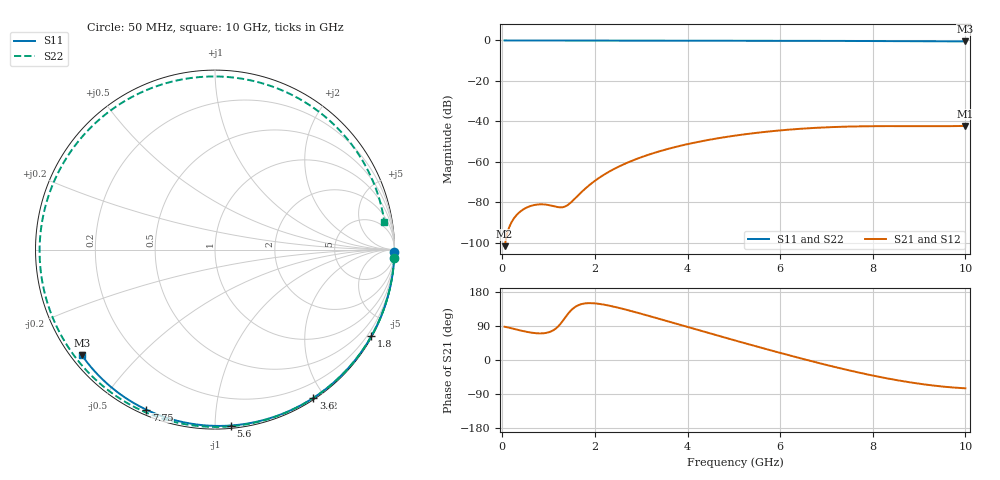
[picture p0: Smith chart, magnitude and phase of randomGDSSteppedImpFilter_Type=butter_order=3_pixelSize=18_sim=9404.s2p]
! freq	dB(S11)	phase(S11)	dB(S12)	phase(S12)
!  dB(S21)	phase(S21)	dB(S22)	phase(S22)
!S-par simulation data
#  GHz  S  DB  R 50
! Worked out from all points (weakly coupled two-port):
!   200 points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, 50 MHz to 10 GHz, reference 50 ohm
!   highest |S21| = -42.22 dB at 10 GHz (marker M1); lowest = -101.6 dB at 50 MHz (marker M2)
!   lowest |S11| = -0.5 dB at 10 GHz (marker M3), VSWR 36.46, Z = 1.54 - j17.4 ohm
!   |S11| at or under -10 dB: nowhere
!   |S22| runs from -0.4 to 0.0 dB; largest |S21 - S12| = 0
!   S11 on the Smith chart (normalised r, x): 50 MHz: open; 1.8 GHz: 0.03, -3.88; 3.6 GHz: 0.02, -1.86; 5.6 GHz: 0.02, -1.09; 7.75 GHz: 0.02, -0.66; 10 GHz: 0.03, -0.35
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0.05  -0.00 -0.8  -101.59 87.7  -101.59 87.7  -0.00 -2.5
0.65  -0.01 -10.5  -81.48 71.8  -81.48 71.8  -0.04 -32.2
1.05  -0.02 -17.0  -81.51 75.2  -81.51 75.2  -0.07 -51.3
1.45  -0.03 -23.4  -80.63 126.4  -80.63 126.4  -0.09 -69.5
1.5  -0.03 -24.2  -79.62 132.9  -79.62 132.9  -0.09 -71.7
1.75  -0.04 -28.1  -74.03 148.6  -74.03 148.6  -0.10 -82.5
1.8  -0.04 -28.9  -72.99 149.5  -72.99 149.5  -0.10 -84.6
2.1  -0.04 -33.6  -67.70 148.0  -67.70 148.0  -0.11 -97.0
2.45  -0.05 -39.1  -63.04 139.5  -63.04 139.5  -0.12 -110.7
2.95  -0.06 -46.7  -58.09 123.7  -58.09 123.7  -0.14 -129.2
3.4  -0.07 -53.5  -54.70 108.2  -54.70 108.2  -0.16 -145.0
3.6  -0.08 -56.5  -53.42 101.2  -53.42 101.2  -0.17 -151.7
4.3  -0.09 -66.7  -49.78 76.6  -49.78 76.6  -0.19 -174.5
5.05  -0.12 -77.4  -46.92 50.7  -46.92 50.7  -0.22 162.0
5.6  -0.14 -84.9  -45.34 32.1  -45.34 32.1  -0.25 145.1
6.15  -0.16 -92.4  -44.12 13.9  -44.12 13.9  -0.27 128.1
6.7  -0.19 -99.7  -43.24 -3.8  -43.24 -3.8  -0.29 111.0
7.25  -0.23 -106.8  -42.68 -20.5  -42.68 -20.5  -0.31 93.7
7.75  -0.26 -113.2  -42.40 -34.6  -42.40 -34.6  -0.32 78.0
8.35  -0.31 -120.8  -42.30 -49.4  -42.30 -49.4  -0.33 59.1
9.2  -0.39 -131.5  -42.34 -65.8  -42.34 -65.8  -0.35 32.8
10  -0.48 -141.7  -42.22 -74.6  -42.22 -74.6  -0.39 9.2
